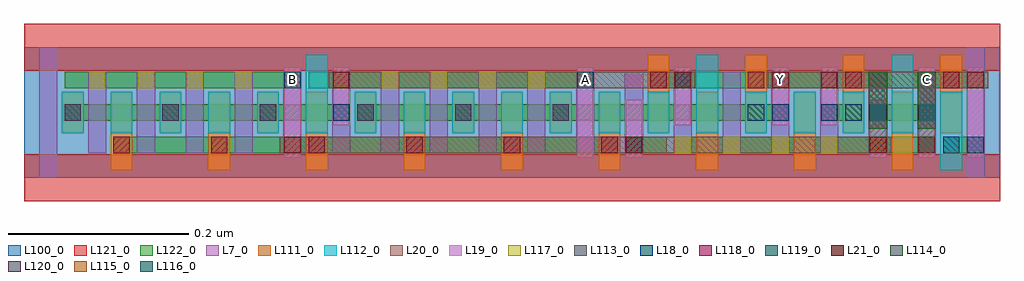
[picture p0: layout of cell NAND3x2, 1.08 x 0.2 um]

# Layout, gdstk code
import gdstk
lib = gdstk.Library(unit=1e-6, precision=2.5e-10)
def R(c, l, rs):  # rectangles x0, y0, x1, y1
    for r in rs: c.add(gdstk.rectangle(r[:2], r[2:], *l))
def A(c, l, x, y, w, h, nx, ny, dx, dy):  # array of equal rectangles
    R(c, l, [(x+i*dx, y+j*dy, x+i*dx+w, y+j*dy+h) for i in range(nx) for j in range(ny)])
L7_0 = (7, 0)
L18_0 = (18, 0)
L19_0 = (19, 0)
L20_0 = (20, 0)
L21_0 = (21, 0)
L100_0 = (100, 0)
L111_0 = (111, 0)
L112_0 = (112, 0)
L113_0 = (113, 0)
L114_0 = (114, 0)
L115_0 = (115, 0)
L116_0 = (116, 0)
L117_0 = (117, 0)
L118_0 = (118, 0)
L119_0 = (119, 0)
L120_0 = (120, 0)
L121_0 = (121, 0)
L122_0 = (122, 0)

nand3x2 = lib.new_cell('NAND3x2')
A(nand3x2, L7_0, 0.071, 0.027, 0.02, 0.09, 16, 1, 0.054, 0)
R(nand3x2, L7_0, [(0.017,0,0.037,0.144), (1.043,0,1.063,0.144)])
A(nand3x2, L18_0, 0.828, 0.063, 0.018, 0.018, 3, 1, 0.054, 0)
R(nand3x2, L18_0, [(0.666,0.027,0.684,0.045), (0.99,0.027,1.008,0.045), (1.044,0.027,1.062,0.045), (0.342,0.063,0.36,0.081), (0.288,0.099,0.306,0.117), (0.612,0.099,0.63,0.117), (0.72,0.099,0.738,0.117)])
R(nand3x2, L19_0, [(0.288,0.022,0.306,0.122), (0.612,0.022,0.63,0.122), (0.666,0.022,0.684,0.086), (0.936,0.022,0.954,0.086), (0.99,0.022,1.008,0.122), (1.044,0.022,1.062,0.122), (0.342,0.058,0.36,0.122), (0.72,0.058,0.738,0.122), (0.828,0.058,0.846,0.122), (0.882,0.058,0.9,0.122)])
R(nand3x2, L20_0, [(0.283,0.027,0.959,0.045), (0.337,0.099,0.743,0.117), (0.823,0.099,1.067,0.117)])
R(nand3x2, L21_0, [(0.288,0.027,0.306,0.045), (0.666,0.027,0.684,0.045), (0.936,0.027,0.954,0.045), (0.342,0.099,0.36,0.117), (0.72,0.099,0.738,0.117), (0.828,0.099,0.846,0.117), (0.882,0.099,0.9,0.117), (1.044,0.099,1.062,0.117)])
R(nand3x2, L100_0, [(0,0,1.08,0.144)])
A(nand3x2, L111_0, 0.096, 0.008, 0.024, 0.087, 9, 1, 0.108, 0)
A(nand3x2, L111_0, 0.042, 0.049, 0.024, 0.046, 6, 1, 0.108, 0)
A(nand3x2, L111_0, 0.69, 0.049, 0.024, 0.087, 4, 1, 0.108, 0)
A(nand3x2, L112_0, 0.042, 0.049, 0.024, 0.046, 5, 1, 0.054, 0)
A(nand3x2, L112_0, 0.366, 0.049, 0.024, 0.046, 7, 1, 0.054, 0)
A(nand3x2, L112_0, 0.798, 0.049, 0.024, 0.046, 3, 1, 0.054, 0)
R(nand3x2, L112_0, [(1.014,0.008,1.038,0.095), (0.312,0.049,0.336,0.136), (0.744,0.049,0.768,0.136), (0.96,0.049,0.984,0.136)])
R(nand3x2, L113_0, [(0.935,0.027,0.955,0.117), (0.989,0.027,1.009,0.117)])
R(nand3x2, L114_0, [(0.935,0.054,0.955,0.117), (0.989,0.054,1.009,0.117)])
R(nand3x2, L115_0, [(0.936,0.027,0.954,0.045), (0.99,0.027,1.008,0.045)])
R(nand3x2, L116_0, [(0.936,0.063,0.954,0.081), (0.99,0.063,1.008,0.081)])
A(nand3x2, L117_0, 0.666, 0.027, 0.018, 0.018, 5, 1, 0.054, 0)
A(nand3x2, L117_0, 0.072, 0.099, 0.018, 0.018, 11, 1, 0.054, 0)
A(nand3x2, L118_0, 0.099, 0.027, 0.018, 0.018, 6, 1, 0.108, 0)
A(nand3x2, L118_0, 0.693, 0.099, 0.018, 0.018, 4, 1, 0.108, 0)
A(nand3x2, L119_0, 0.045, 0.063, 0.018, 0.018, 6, 1, 0.108, 0)
R(nand3x2, L119_0, [(1.017,0.027,1.035,0.045), (0.801,0.063,0.819,0.081), (0.909,0.063,0.927,0.081)])
A(nand3x2, L120_0, 0.045, 0.063, 0.018, 0.018, 6, 1, 0.108, 0)
R(nand3x2, L121_0, [(0,-0.026,1.08,0.026), (0,0.118,1.08,0.17)])
R(nand3x2, L122_0, [(0.099,0.027,0.657,0.045), (0.666,0.027,0.711,0.045), (0.72,0.027,1.008,0.045), (1.017,0.027,1.062,0.045), (0.045,0.063,0.36,0.081), (0.369,0.063,0.846,0.081), (0.882,0.063,0.927,0.081), (0.936,0.063,1.008,0.081), (0.045,0.099,0.306,0.117), (0.315,0.099,0.63,0.117), (0.693,0.099,1.062,0.117)])
nand3x2.add(gdstk.Label('Y', (0.837,0.108), layer=19, texttype=251))
nand3x2.add(gdstk.Label('C', (0.999,0.108), layer=19, texttype=251))
nand3x2.add(gdstk.Label('B', (0.297,0.108), layer=19, texttype=251))
nand3x2.add(gdstk.Label('A', (0.621,0.108), layer=19, texttype=251))

lib.write_gds('NAND3x2.gds')
